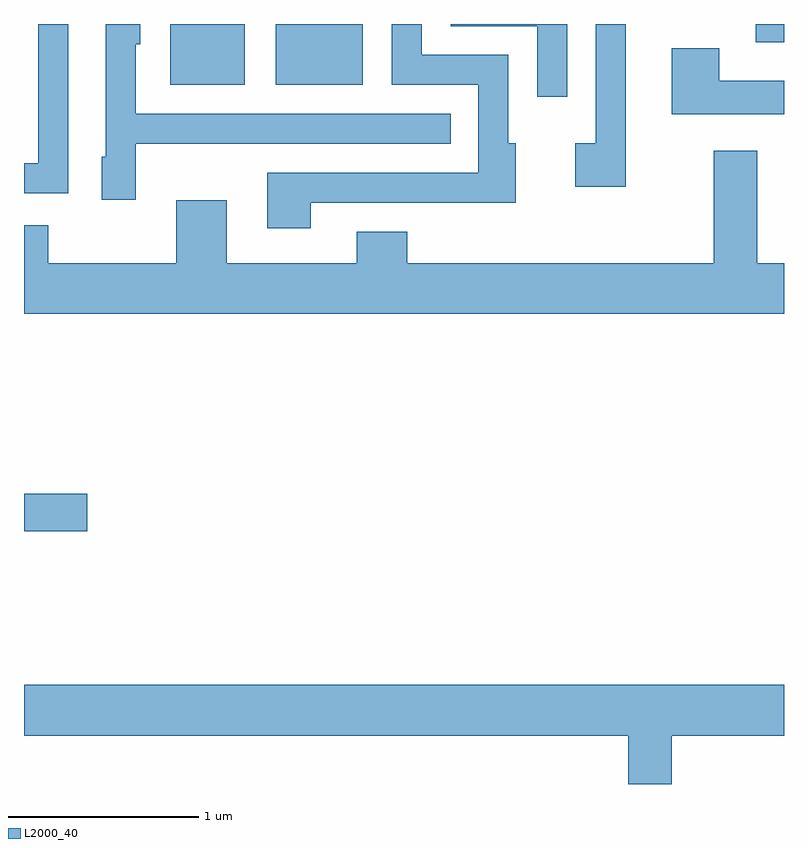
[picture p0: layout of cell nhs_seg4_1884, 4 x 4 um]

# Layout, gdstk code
import gdstk
lib = gdstk.Library(unit=1e-6, precision=1e-09)
def R(c, l, rs):  # rectangles x0, y0, x1, y1
    for r in rs: c.add(gdstk.rectangle(r[:2], r[2:], *l))
def P(c, l, *ps):  # polygons
    for p in ps: c.add(gdstk.Polygon(p, *l))
L2000_40 = (2000, 40)

nhs_seg4_1884 = lib.new_cell('nhs_seg4_1884')
R(nhs_seg4_1884, L2000_40, [(239.611,1351.311,239.944,1351.509), (240.381,1353.661,240.774,1353.982), (240.936,1353.661,241.394,1353.982), (243.461,1353.886,243.611,1353.982)])
P(nhs_seg4_1884, L2000_40, [(239.844,1353.982),(239.686,1353.982),(239.686,1353.249),(239.611,1353.249),(239.611,1353.091),(239.844,1353.091)],
  [(242.469,1353.982),(241.856,1353.982),(241.856,1353.971),(242.311,1353.971),(242.311,1353.598),(242.469,1353.598)],
  [(240.199,1353.351),(241.858,1353.351),(241.858,1353.509),(240.199,1353.509),(240.199,1353.876),(240.224,1353.876),(240.224,1353.982),(240.041,1353.982),(240.041,1353.284),(240.021,1353.284),(240.021,1353.056),(240.199,1353.056)],
  [(241.119,1353.041),(242.199,1353.041),(242.199,1353.354),(242.159,1353.354),(242.159,1353.819),(241.704,1353.819),(241.704,1353.982),(241.546,1353.982),(241.546,1353.661),(242.001,1353.661),(242.001,1353.199),(240.891,1353.199),(240.891,1352.906),(241.119,1352.906)],
  [(242.779,1353.982),(242.621,1353.982),(242.621,1353.354),(242.511,1353.354),(242.511,1353.126),(242.779,1353.126)],
  [(243.611,1353.684),(243.269,1353.684),(243.269,1353.854),(243.021,1353.854),(243.021,1353.506),(243.611,1353.506)],
  [(243.611,1352.724),(243.469,1352.724),(243.469,1353.314),(243.241,1353.314),(243.241,1352.724),(241.629,1352.724),(241.629,1352.889),(241.361,1352.889),(241.361,1352.724),(240.679,1352.724),(240.679,1353.054),(240.411,1353.054),(240.411,1352.724),(239.739,1352.724),(239.739,1352.924),(239.611,1352.924),(239.611,1352.456),(243.611,1352.456)],
  [(243.019,1350.236),(243.611,1350.236),(243.611,1350.504),(239.611,1350.504),(239.611,1350.236),(242.791,1350.236),(242.791,1349.982),(243.019,1349.982)])

lib.write_gds('nhs_seg4_1884.gds')
